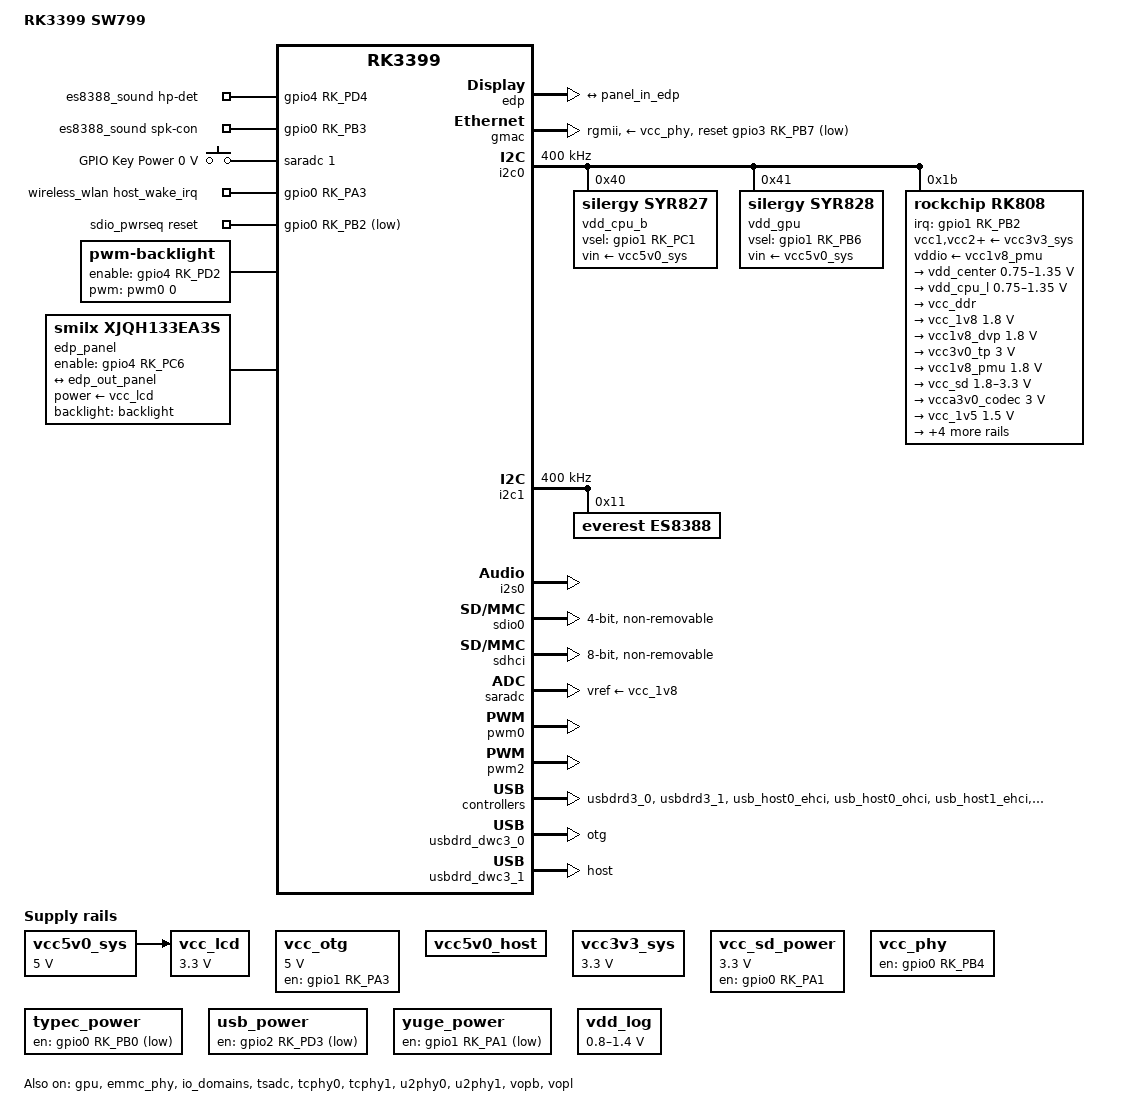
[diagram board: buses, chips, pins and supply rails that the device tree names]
/dts-v1/;
#include <dt-bindings/input/input.h>
#include <dt-bindings/pwm/pwm.h>
#include "rk3399.dtsi"
#include "rk3399-opp.dtsi"

/ {
	model = "RK3399 SW799";
	compatible = "rockchip,rk3399-sw799", "rockchip,rk3399";

	chosen: chosen {
		stdout-path = &uart2;
		u-boot,spl-boot-order = &sdhci;
	};

	aliases: aliases {
		mmc0 = &sdhci;
	};

	fiq_debugger: fiq-debugger {
		compatible = "rockchip,fiq-debugger";
		rockchip,serial-id = <2>;
		rockchip,signal-irq = <182>;
		rockchip,wake-irq = <0>;
		rockchip,irq-mode-enable = <1>;
		rockchip,baudrate = <1500000>;
		pinctrl-names = "default";
		pinctrl-0 = <&uart2c_xfer>;
	};

	clkin_gmac: clkin-gmac {
		compatible = "fixed-clock";
		clock-frequency = <125000000>;
		clock-output-names = "clkin_gmac";
		#clock-cells = <0>;
	};

	vcc5v0_sys: vcc5v0-sys {
		compatible = "regulator-fixed";
		regulator-name = "vcc5v0_sys";
		regulator-min-microvolt = <5000000>;
		regulator-max-microvolt = <5000000>;
		regulator-always-on;
		regulator-boot-on;
	};

	vcc_otg: vcc-otg {
		compatible = "regulator-fixed";
		regulator-name = "vcc_otg";
		regulator-min-microvolt = <5000000>;
		regulator-max-microvolt = <5000000>;
		gpio = <&gpio1 RK_PA3 GPIO_ACTIVE_HIGH>;
		enable-active-high;
	};

	vcc5v0_host: vcc5v0-host {
		compatible = "regulator-fixed";
		regulator-name = "vcc5v0_host";
		regulator-always-on;
		enable-active-high;
	};

	vcc3v3_sys: vcc3v3-sys {
		compatible = "regulator-fixed";
		regulator-name = "vcc3v3_sys";
		regulator-min-microvolt = <3300000>;
		regulator-max-microvolt = <3300000>;
		regulator-always-on;
		regulator-boot-on;
	};

	vcc_sd_power: vcc-sd-power {
		compatible = "regulator-fixed";
		regulator-name = "vcc_sd_power";
		regulator-min-microvolt = <3300000>;
		regulator-max-microvolt = <3300000>;
		gpio = <&gpio0 RK_PA1 GPIO_ACTIVE_HIGH>;
		enable-active-high;
	};

	vcc_phy: vcc-phy {
		compatible = "regulator-fixed";
		regulator-name = "vcc_phy";
		gpio = <&gpio0 RK_PB4 GPIO_ACTIVE_HIGH>;
		regulator-always-on;
		enable-active-high;
		regulator-boot-on;
	};

	typec_power: typec-power {
		compatible = "regulator-fixed";
		regulator-name = "typec_power";
		gpio = <&gpio0 RK_PB0 GPIO_ACTIVE_HIGH>;
	};

	usb_power: usb-power {
		compatible = "regulator-fixed";
		regulator-name = "usb_power";
		gpio = <&gpio2 RK_PD3 GPIO_ACTIVE_HIGH>;
	};

	yuge_power: yuge-power {
		compatible = "regulator-fixed";
		regulator-name = "yuge_power";
		gpio = <&gpio1 RK_PA1 GPIO_ACTIVE_HIGH>;
	};

	es8388_sound: es8388-sound {
		compatible = "simple-audio-card";
		simple-audio-card,format = "i2s";
		simple-audio-card,name = "rockchip,es8388-codec";
		simple-audio-card,mclk-fs = <256>;
		hp-det-gpio = <&gpio4 RK_PD4 GPIO_ACTIVE_HIGH>;
		spk-con-gpio = <&gpio0 RK_PB3 GPIO_ACTIVE_HIGH>;
		status = "okay";

		simple-audio-card,cpu {
			sound-dai = <&i2s0>;
			system-clock-frequency = <11289600>;
		};

		simple-audio-card,codec {
			sound-dai = <&es8388>;
			system-clock-frequency = <11289600>;
		};
	};

	adc_keys: adc-keys {
		compatible = "adc-keys";
		io-channels = <&saradc 1>;
		io-channel-names = "buttons";
		poll-interval = <100>;
		keyup-threshold-microvolt = <1800000>;

		button-up {
			label = "GPIO Key Power";
			linux,code = <KEY_POWER>;
			press-threshold-microvolt = <0>;
		};
	};

	wireless_wlan: wireless-wlan {
		compatible = "wlan-platdata";
		rockchip,grf = <&grf>;
		wifi_chip_type = "ap6354";
		sdio_vref = <1800>;
		WIFI,host_wake_irq = <&gpio0 RK_PA3 GPIO_ACTIVE_HIGH>;
		status = "okay";
	};

	vdd_log: vdd-log  {
		compatible = "pwm-regulator";
		regulator-name = "vdd_log";
		pwms = <&pwm2 0 25000 1>;
		regulator-min-microvolt = <800000>;
		regulator-max-microvolt = <1400000>;
		rockchip,pwm_voltage = <900000>;
		rockchip,pwm_id = <2>;
		regulator-always-on;
		regulator-boot-on;
	};

	sdio_pwrseq: sdio-pwrseq {
		compatible = "mmc-pwrseq-simple";
		clocks = <&rk808 1>;
		clock-names = "ext_clock";
		reset-gpios = <&gpio0 RK_PB2 GPIO_ACTIVE_LOW>;
	};

	vcc_lcd: vcc-lcd {
		compatible = "regulator-fixed";
		regulator-name = "vcc_lcd";
		startup-delay-us = <20000>;
		regulator-min-microvolt = <3300000>;
		regulator-max-microvolt = <3300000>;
		regulator-always-on;
		enable-active-high;
		regulator-boot-on;
		vin-supply = <&vcc5v0_sys>;
	};

	backlight: backlight {
		compatible = "pwm-backlight";
		brightness-levels = <
			  0   1   2   3   4   5   6   7
			  8   9  10  11  12  13  14  15
			 16  17  18  19  20  21  22  23
			 24  25  26  27  28  29  30  31
			 32  33  34  35  36  37  38  39
			 40  41  42  43  44  45  46  47
			 48  49  50  51  52  53  54  55
			 56  57  58  59  60  61  62  63
			 64  65  66  67  68  69  70  71
			 72  73  74  75  76  77  78  79
			 80  81  82  83  84  85  86  87
			 88  89  90  91  92  93  94  95
			 96  97  98  99 100 101 102 103
			104 105 106 107 108 109 110 111
			112 113 114 115 116 117 118 119
			120 121 122 123 124 125 126 127
			128 129 130 131 132 133 134 135
			136 137 138 139 140 141 142 143
			144 145 146 147 148 149 150 151
			152 153 154 155 156 157 158 159
			160 161 162 163 164 165 166 167
			168 169 170 171 172 173 174 175
			176 177 178 179 180 181 182 183
			184 185 186 187 188 189 190 191
			192 193 194 195 196 197 198 199
			200 201 202 203 204 205 206 207
			208 209 210 211 212 213 214 215
			216 217 218 219 220 221 222 223
			224 225 226 227 228 229 230 231
			232 233 234 235 236 237 238 239
			240 241 242 243 244 245 246 247
			248 249 250 251 252 253 254 255>;
		default-brightness-level = <200>;
		enable-gpios = <&gpio4 RK_PD2 GPIO_ACTIVE_HIGH>;
		pwms = <&pwm0 0 25000 1>;
	};

	edp_panel: edp-panel {
		compatible = "smilx,xjqh133ea3s";
		backlight = <&backlight>;
		power-supply = <&vcc_lcd>;
		enable-gpios = <&gpio4 RK_PC6 GPIO_ACTIVE_HIGH>;
		prepare-delay-ms = <20>;
		enable-delay-ms = <20>;

		port {
			panel_in_edp: endpoint {
				remote-endpoint = <&edp_out_panel>;
			};
		};
	};
};

&cpu_l0 {
	cpu-supply = <&vdd_cpu_l>;
};

&cpu_l1 {
	cpu-supply = <&vdd_cpu_l>;
};

&cpu_l2 {
	cpu-supply = <&vdd_cpu_l>;
};

&cpu_l3 {
	cpu-supply = <&vdd_cpu_l>;
};

&cpu_b0 {
	cpu-supply = <&vdd_cpu_b>;
};

&cpu_b1 {
	cpu-supply = <&vdd_cpu_b>;
};

&gpu {
	mali-supply = <&vdd_gpu>;
	status = "okay";
};

&edp {
	force-hpd;
	status = "okay";

	ports {
		edp_out: port@1 {
			reg = <1>;
			#address-cells = <1>;
			#size-cells = <0>;

			edp_out_panel: endpoint@0 {
				reg = <0>;
				remote-endpoint = <&panel_in_edp>;
			};
		};
	};
};

&gmac {
	phy-supply = <&vcc_phy>;
	phy-mode = "rgmii";
	clock_in_out = "input";
	snps,reset-gpio = <&gpio3 RK_PB7 GPIO_ACTIVE_LOW>;
	snps,reset-active-low;
	snps,reset-delays-us = <0 10000 50000>;
	assigned-clocks = <&cru SCLK_RMII_SRC>;
	assigned-clock-parents = <&clkin_gmac>;
	pinctrl-names = "default";
	pinctrl-0 = <&rgmii_pins>;
	tx_delay = <0x28>;
	rx_delay = <0x11>;
	status = "okay";
};

&i2c0 {
	i2c-scl-rising-time-ns = <168>;
	i2c-scl-falling-time-ns = <4>;
	clock-frequency = <400000>;
	status = "okay";

	vdd_cpu_b: syr827@40 {
		compatible = "silergy,syr827";
		reg = <0x40>;
		vin-supply = <&vcc5v0_sys>;
		regulator-compatible = "fan53555-reg";
		vsel-gpios = <&gpio1 RK_PC1 GPIO_ACTIVE_HIGH>;
		regulator-name = "vdd_cpu_b";
		regulator-min-microvolt = <712500>;
		regulator-max-microvolt = <1500000>;
		regulator-ramp-delay = <1000>;
		fcs,suspend-voltage-selector = <1>;
		regulator-always-on;
		regulator-boot-on;
		regulator-initial-state = <3>;

		regulator-state-mem {
			regulator-off-in-suspend;
		};
	};

	vdd_gpu: syr828@41 {
		compatible = "silergy,syr828";
		reg = <0x41>;
		vin-supply = <&vcc5v0_sys>;
		regulator-compatible = "fan53555-reg";
		vsel-gpios = <&gpio1 RK_PB6 GPIO_ACTIVE_HIGH>;
		regulator-name = "vdd_gpu";
		regulator-min-microvolt = <712500>;
		regulator-max-microvolt = <1500000>;
		regulator-ramp-delay = <1000>;
		fcs,suspend-voltage-selector = <1>;
		regulator-always-on;
		regulator-boot-on;
		regulator-initial-state = <3>;

		regulator-state-mem {
			regulator-off-in-suspend;
		};
	};

	rk808: pmic@1b {
		compatible = "rockchip,rk808";
		reg = <0x1b>;
		interrupt-parent = <&gpio1>;
		interrupts = <RK_PB2 IRQ_TYPE_LEVEL_LOW>;
		rockchip,system-power-controller;
		wakeup-source;
		#clock-cells = <1>;
		clock-output-names = "xin32k\0rk808-clkout2";
		vcc1-supply = <&vcc3v3_sys>;
		vcc2-supply = <&vcc3v3_sys>;
		vcc3-supply = <&vcc3v3_sys>;
		vcc4-supply = <&vcc3v3_sys>;
		vcc6-supply = <&vcc3v3_sys>;
		vcc7-supply = <&vcc3v3_sys>;
		vcc8-supply = <&vcc3v3_sys>;
		vcc9-supply = <&vcc3v3_sys>;
		vcc10-supply = <&vcc3v3_sys>;
		vcc11-supply = <&vcc3v3_sys>;
		vcc12-supply = <&vcc3v3_sys>;
		vddio-supply = <&vcc1v8_pmu>;

		regulators {

			vdd_center: DCDC_REG1 {
				regulator-always-on;
				regulator-boot-on;
				regulator-min-microvolt = <750000>;
				regulator-max-microvolt = <1350000>;
				regulator-ramp-delay = <6001>;
				regulator-name = "vdd_center";

				regulator-state-mem {
					regulator-off-in-suspend;
				};
			};

			vdd_cpu_l: DCDC_REG2 {
				regulator-always-on;
				regulator-boot-on;
				regulator-min-microvolt = <750000>;
				regulator-max-microvolt = <1350000>;
				regulator-ramp-delay = <6001>;
				regulator-name = "vdd_cpu_l";

				regulator-state-mem {
					regulator-off-in-suspend;
				};
			};

			vcc_ddr: DCDC_REG3 {
				regulator-always-on;
				regulator-boot-on;
				regulator-name = "vcc_ddr";

				regulator-state-mem {
					regulator-on-in-suspend;
				};
			};

			vcc_1v8: DCDC_REG4 {
				regulator-always-on;
				regulator-boot-on;
				regulator-min-microvolt = <1800000>;
				regulator-max-microvolt = <1800000>;
				regulator-name = "vcc_1v8";

				regulator-state-mem {
					regulator-on-in-suspend;
					regulator-suspend-microvolt = <1800000>;
				};
			};

			vcc1v8_dvp: LDO_REG1 {
				regulator-always-on;
				regulator-boot-on;
				regulator-min-microvolt = <1800000>;
				regulator-max-microvolt = <1800000>;
				regulator-name = "vcc1v8_dvp";

				regulator-state-mem {
					regulator-off-in-suspend;
				};
			};

			vcc3v0_tp: LDO_REG2 {
				regulator-always-on;
				regulator-boot-on;
				regulator-min-microvolt = <3000000>;
				regulator-max-microvolt = <3000000>;
				regulator-name = "vcc3v0_tp";

				regulator-state-mem {
					regulator-off-in-suspend;
				};
			};

			vcc1v8_pmu: LDO_REG3 {
				regulator-always-on;
				regulator-boot-on;
				regulator-min-microvolt = <1800000>;
				regulator-max-microvolt = <1800000>;
				regulator-name = "vcc1v8_pmu";

				regulator-state-mem {
					regulator-on-in-suspend;
					regulator-suspend-microvolt = <1800000>;
				};
			};

			vcc_sd: LDO_REG4 {
				regulator-always-on;
				regulator-boot-on;
				regulator-min-microvolt = <1800000>;
				regulator-max-microvolt = <3300000>;
				regulator-name = "vcc_sd";

				regulator-state-mem {
					regulator-on-in-suspend;
					regulator-suspend-microvolt = <3300000>;
				};
			};

			vcca3v0_codec: LDO_REG5 {
				regulator-always-on;
				regulator-boot-on;
				regulator-min-microvolt = <3000000>;
				regulator-max-microvolt = <3000000>;
				regulator-name = "vcca3v0_codec";

				regulator-state-mem {
					regulator-off-in-suspend;
				};
			};

			vcc_1v5: LDO_REG6 {
				regulator-always-on;
				regulator-boot-on;
				regulator-min-microvolt = <1500000>;
				regulator-max-microvolt = <1500000>;
				regulator-name = "vcc_1v5";

				regulator-state-mem {
					regulator-on-in-suspend;
					regulator-suspend-microvolt = <1500000>;
				};
			};

			vcca1v8_codec: LDO_REG7 {
				regulator-always-on;
				regulator-boot-on;
				regulator-min-microvolt = <1800000>;
				regulator-max-microvolt = <1800000>;
				regulator-name = "vcca1v8_codec";

				regulator-state-mem {
					regulator-off-in-suspend;
				};
			};

			vcc_3v0: LDO_REG8 {
				regulator-always-on;
				regulator-boot-on;
				regulator-min-microvolt = <3000000>;
				regulator-max-microvolt = <3000000>;
				regulator-name = "vcc_3v0";

				regulator-state-mem {
					regulator-on-in-suspend;
					regulator-suspend-microvolt = <3000000>;
				};
			};

			vcc3v3_s3: SWITCH_REG1 {
				regulator-always-on;
				regulator-boot-on;
				regulator-name = "vcc3v3_s3";

				regulator-state-mem {
					regulator-off-in-suspend;
				};
			};

			vcc3v3_s0: SWITCH_REG2 {
				regulator-always-on;
				regulator-boot-on;
				regulator-name = "vcc3v3_s0";

				regulator-state-mem {
					regulator-off-in-suspend;
				};
			};
		};
	};
};

&i2c1 {
	i2c-scl-rising-time-ns = <164>;
	i2c-scl-falling-time-ns = <15>;
	clock-frequency = <400000>;
	status = "okay";

	es8388: es8388@11 {
		#sound-dai-cells = <0>;
		compatible = "everest,es8388";
		reg = <0x11>;
		clocks = <&cru SCLK_I2S_8CH_OUT>;
		clock-names = "mclk";
		status = "okay";
	};
};

&i2s0 {
	rockchip,i2s-broken-burst-len;
	rockchip,playback-channels = <8>;
	rockchip,capture-channels = <8>;
	#sound-dai-cells = <0>;
	status = "okay";
};

&sdio0 {
	clock-frequency = <50000000>;
	supports-sdio;
	bus-width = <4>;
	disable-wp;
	cap-sd-highspeed;
	cap-sdio-irq;
	keep-power-in-suspend;
	mmc-pwrseq = <&sdio_pwrseq>;
	non-removable;
	num-slots = <1>;
	pinctrl-names = "default";
	pinctrl-0 = <&sdio0_bus4 &sdio0_cmd &sdio0_clk>;
	sd-uhs-sdr104;
	status = "okay";
};

&sdhci {
	bus-width = <8>;
	mmc-hs400-1_8v;
	supports-emmc;
	non-removable;
	keep-power-in-suspend;
	mmc-hs400-enhanced-strobe;
	status = "okay";
};

&emmc_phy {
	status = "okay";
};

&io_domains {
	bt656-supply = <&vcc_3v0>;
	audio-supply = <&vcca1v8_codec>;
	sdmmc-supply = <&vcc_sd>;
	gpio1830-supply = <&vcc_3v0>;
	status = "okay";
};

&saradc {
	vref-supply = <&vcc_1v8>;
	status = "okay";
};

&tsadc {
	rockchip,hw-tshut-mode = <1>;
	rockchip,hw-tshut-polarity = <1>;
	rockchip,hw-tshut-temp = <120000>;
	status = "okay";
};

&pwm0 {
	status = "okay";
};

&pwm2 {
	status = "okay";
};

&uart2 {
	status = "disabled";
};

&tcphy0 {
	status = "okay";
};

&tcphy1 {
	status = "okay";
};

&u2phy0 {
	status = "okay";

	u2phy0_otg: otg-port {
		vbus-supply = <&vcc_otg>;
		status = "okay";
	};

	u2phy0_host: host-port {
		phy-supply = <&vcc5v0_host>;
		status = "okay";
	};
};

&u2phy1 {
	status = "okay";

	u2phy1_otg: otg-port {
		status = "okay";
	};

	u2phy1_host: host-port {
		phy-supply = <&vcc5v0_host>;
		status = "okay";
	};
};

&usbdrd3_0 {
	extcon = <&u2phy0>;
	status = "okay";
};

&usbdrd_dwc3_0 {
	dr_mode = "otg";
	status = "okay";
};

&usbdrd3_1 {
	status = "okay";
};

&usbdrd_dwc3_1 {
	dr_mode = "host";
	status = "okay";
};

&usb_host0_ehci {
	status = "okay";
};

&usb_host0_ohci {
	status = "okay";
};

&usb_host1_ehci {
	status = "okay";
};

&usb_host1_ohci {
	status = "okay";
};

&vopb {
	status = "okay";
};

&vopb_mmu {
	status = "okay";
};

&vopl {
	status = "okay";
};

&vopl_mmu {
	status = "okay";
};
